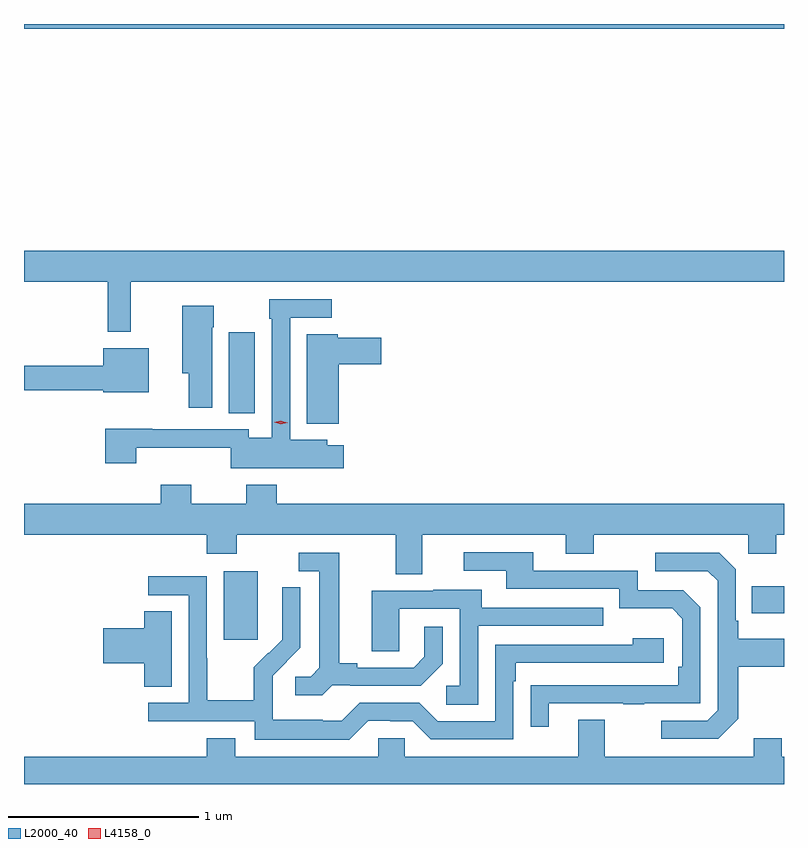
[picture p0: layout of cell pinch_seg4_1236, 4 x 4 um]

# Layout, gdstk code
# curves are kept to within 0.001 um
import gdstk
lib = gdstk.Library(unit=1e-6, precision=1e-09)
def R(c, l, rs):  # rectangles x0, y0, x1, y1
    for r in rs: c.add(gdstk.rectangle(r[:2], r[2:], *l))
def P(c, l, *ps):  # polygons
    for p in ps: c.add(gdstk.Polygon(p, *l))
L2000_40 = (2000, 40)
L4158_0 = (4158, 0)

pinch_seg4_1236 = lib.new_cell('pinch_seg4_1236')
R(pinch_seg4_1236, L2000_40, [(232.589,778.953,232.768,779.314), (235.369,779.093,235.538,779.233), (232.616,780.145,232.753,780.571), (231.538,782.168,235.538,782.193)])
P(pinch_seg4_1236, L2000_40, [(232.1,780.836),(235.538,780.836),(235.538,781),(231.538,781),(231.538,780.836),(231.979,780.836),(231.979,780.573),(232.1,780.573)],
  [(233.221,779.977),(233.133,779.977),(233.133,780.004),(232.938,780.004),(232.938,780.648),(233.158,780.648),(233.158,780.744),(232.83,780.744),(232.83,780.641),(232.842,780.641),(232.842,780.016),(232.722,780.016),(232.722,780.06),(232.213,780.06),(232.213,780.062),(231.965,780.062),(231.965,779.88),(232.13,779.88),(232.13,779.963),(232.626,779.963),(232.626,779.855),(233.221,779.855)],
  [(232.528,780.596),(232.536,780.596),(232.536,780.709),(232.37,780.709),(232.37,780.356),(232.406,780.356),(232.406,780.174),(232.528,780.174)],
  [(233.194,780.401),(233.419,780.401),(233.419,780.543),(233.19,780.543),(233.19,780.559),(233.027,780.559),(233.027,780.089),(233.194,780.089)],
  [(232.195,780.487),(231.956,780.487),(231.956,780.394),(231.538,780.394),(231.538,780.265),(231.956,780.265),(231.956,780.254),(232.195,780.254)],
  [(233.635,779.504),(234.389,779.504),(234.389,779.405),(234.537,779.405),(234.537,779.504),(235.35,779.504),(235.35,779.405),(235.497,779.405),(235.497,779.504),(235.538,779.504),(235.538,779.668),(232.868,779.668),(232.868,779.767),(232.708,779.767),(232.708,779.668),(232.419,779.668),(232.419,779.767),(232.259,779.767),(232.259,779.668),(231.538,779.668),(231.538,779.504),(232.499,779.504),(232.499,779.405),(232.659,779.405),(232.659,779.504),(233.495,779.504),(233.495,779.296),(233.635,779.296)],
  [(234.301,778.617),(234.691,778.617),(234.691,778.612),(234.803,778.612),(234.803,778.617),(235.098,778.617),(235.098,779.124),(235.008,779.214),(234.768,779.214),(234.768,779.316),(234.217,779.316),(234.217,779.412),(233.853,779.412),(233.853,779.316),(234.077,779.316),(234.077,779.22),(234.672,779.22),(234.672,779.117),(234.949,779.117),(235.002,779.064),(235.002,778.81),(234.982,778.81),(234.982,778.713),(234.205,778.712),(234.205,778.494),(234.301,778.494)],
  [(235.297,778.537),(235.297,778.81),(235.538,778.81),(235.538,778.957),(235.297,778.957),(235.297,779.053),(235.284,779.053),(235.284,779.322),(235.197,779.409),(234.861,779.409),(234.861,779.313),(235.137,779.313),(235.188,779.262),(235.188,778.581),(235.134,778.527),(234.891,778.527),(234.891,778.431),(235.191,778.431)],
  [(233.16,778.713),(233.254,778.713),(233.254,778.71),(233.626,778.71),(233.742,778.826),(233.742,779.02),(233.645,779.02),(233.645,778.863),(233.588,778.806),(233.293,778.806),(233.293,778.829),(233.197,778.829),(233.197,779.409),(232.983,779.409),(232.983,779.313),(233.093,779.313),(233.093,778.805),(233.046,778.758),(232.965,778.758),(232.965,778.661),(233.108,778.661)],
  [(233.349,778.527),(233.465,778.527),(233.465,778.524),(233.583,778.524),(233.679,778.428),(234.114,778.428),(234.114,778.733),(234.127,778.733),(234.127,778.83),(234.904,778.83),(234.904,778.96),(234.743,778.96),(234.743,778.926),(234.018,778.926),(234.018,778.524),(233.715,778.524),(233.619,778.62),(233.304,778.62),(233.211,778.527),(233.111,778.527),(233.111,778.531),(232.848,778.531),(232.848,778.665),(232.846,778.665),(232.846,778.762),(232.992,778.91),(232.992,779.228),(232.896,779.228),(232.896,779.074),(232.898,779.074),(232.898,778.952),(232.827,778.881),(232.824,778.884),(232.747,778.807),(232.747,778.633),(232.503,778.633),(232.503,778.856),(232.5,778.856),(232.5,779.286),(232.191,779.286),(232.191,779.187),(232.404,779.187),(232.404,778.62),(232.191,778.62),(232.191,778.524),(232.752,778.524),(232.752,778.427),(233.249,778.427)],
  [(233.928,779.025),(234.587,779.025),(234.587,779.121),(233.947,779.121),(233.947,779.215),(233.693,779.215),(233.693,779.211),(233.369,779.211),(233.369,778.891),(233.514,778.891),(233.514,779.115),(233.832,779.115),(233.832,778.71),(233.76,778.71),(233.76,778.609),(233.928,778.609)],
  [(232.315,779.102),(232.172,779.102),(232.172,779.012),(231.954,779.012),(231.954,778.829),(232.172,778.829),(232.172,778.705),(232.315,778.705)],
  [(233.403,778.434),(233.403,778.336),(232.651,778.336),(232.651,778.435),(232.499,778.435),(232.499,778.336),(231.538,778.336),(231.538,778.193),(235.538,778.193),(235.538,778.336),(235.527,778.336),(235.527,778.435),(235.379,778.435),(235.379,778.336),(234.595,778.336),(234.595,778.531),(234.455,778.531),(234.455,778.336),(233.541,778.336),(233.541,778.434)])
P(pinch_seg4_1236, L4158_0, [(232.889,780.086),(232.855,780.096),(232.855,780.097),(232.855,780.097),(232.89,780.106),(232.924,780.095),(232.925,780.095),(232.924,780.095)])

lib.write_gds('pinch_seg4_1236.gds')
